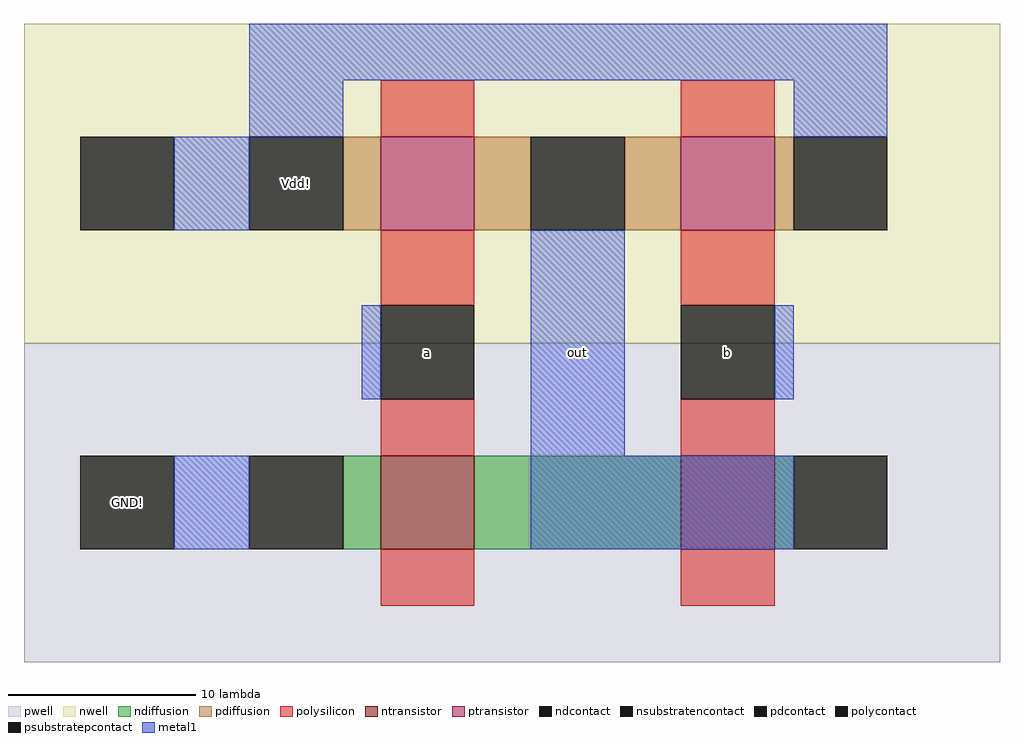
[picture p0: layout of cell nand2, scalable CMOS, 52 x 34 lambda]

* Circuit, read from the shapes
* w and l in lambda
.subckt nand2 GND! Vdd! a b out
M1 n1 a GND! GND! nfet w=5 l=5
M2 out b n1 GND! nfet w=5 l=5
M3 out a Vdd! Vdd! pfet w=5 l=5
M4 Vdd! b out Vdd! pfet w=5 l=5
.ends

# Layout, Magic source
magic
tech scmos
<< nwell >>
rect -24 -2 28 15
<< pwell >>
rect -24 -19 28 -2
<< ntransistor >>
rect -5 -13 0 -8
rect 11 -13 16 -8
<< ptransistor >>
rect -5 4 0 9
rect 11 4 16 9
<< ndiffusion >>
rect -7 -13 -5 -8
rect 0 -13 11 -8
rect 16 -13 17 -8
<< pdiffusion >>
rect -7 4 -5 9
rect 0 4 3 9
rect 8 4 11 9
rect 16 4 17 9
<< ndcontact >>
rect -12 -13 -7 -8
rect 17 -13 22 -8
<< pdcontact >>
rect -12 4 -7 9
rect 3 4 8 9
rect 17 4 22 9
<< psubstratepcontact >>
rect -21 -13 -16 -8
<< nsubstratencontact >>
rect -21 4 -16 9
<< polysilicon >>
rect -5 9 0 12
rect 11 9 16 12
rect -5 0 0 4
rect -5 -8 0 -5
rect 11 0 16 4
rect 11 -8 16 -5
rect -5 -16 0 -13
rect 11 -16 16 -13
<< polycontact >>
rect -5 -5 0 0
rect 11 -5 16 0
<< metal1 >>
rect -12 12 22 15
rect -12 9 -7 12
rect 17 9 22 12
rect -16 4 -12 9
rect -6 -5 -5 0
rect 3 -8 8 4
rect 16 -5 17 0
rect -16 -13 -12 -8
rect 3 -13 17 -8
<< labels >>
rlabel metal1 5 -3 6 -2 1 out
rlabel pdcontact -10 6 -9 7 1 Vdd!
rlabel psubstratepcontact -19 -11 -18 -10 1 GND!
rlabel polycontact -3 -3 -2 -2 1 a
rlabel polycontact 13 -3 14 -2 1 b
<< end >>
